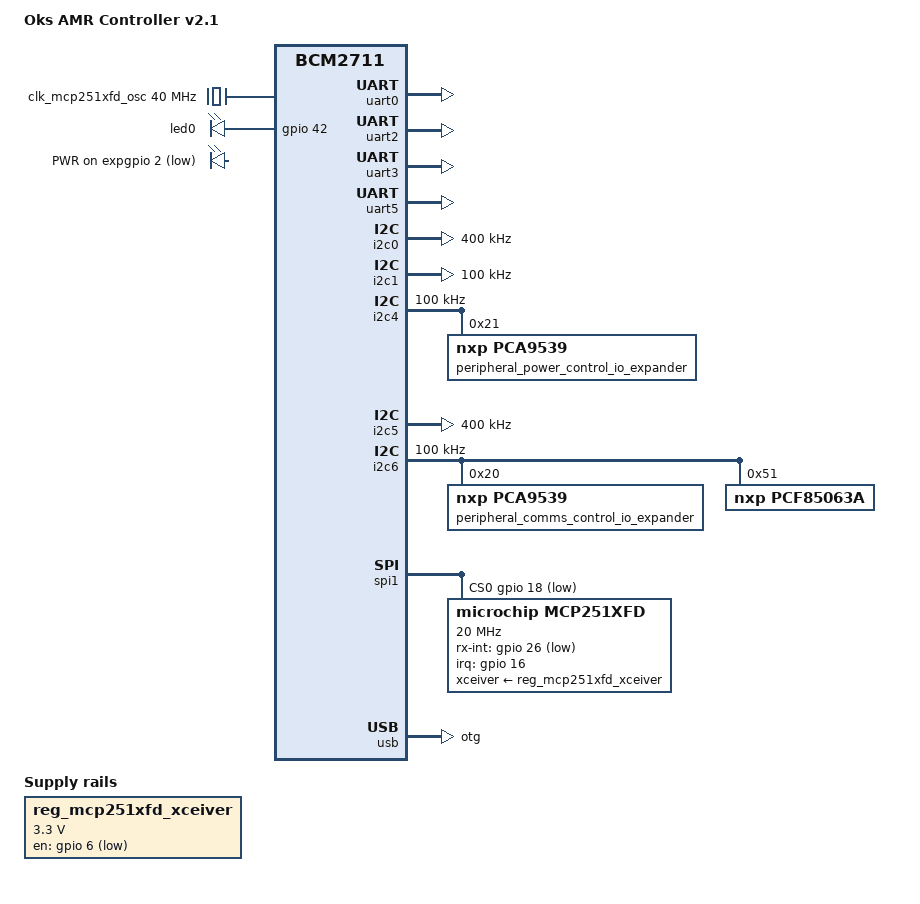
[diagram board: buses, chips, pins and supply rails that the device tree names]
// SPDX-License-Identifier: GPL-2.0
/dts-v1/;
#include "bcm2711-rpi-cm4.dtsi"
#include "bcm283x-rpi-usb-otg.dtsi"

/ {
    model = "Oks AMR Controller v2.1";
    compatible = "raspberrypi,4-compute-module", "oks,amr-controller-v2.1", "brcm,bcm2711";

    chosen {
        bootargs = "console=tty1 coherent_pool=1M 8250.nr_uarts=1 snd_bcm2835.enable_headphones=0";
    };

    oks_board_version {
        compatible = "oks,board-version";
        version = "2.1";
    };

   clocks {
   	clk_mcp251xfd_osc: mcp251xfd-osc {
            #clock-cells = <0>;
	    compatible = "fixed-clock";
	    clock-frequency = <40000000>;
	};
   };

    reg_mcp251xfd_xceiver: reg_mcp251xfd_xceiver {
        compatible = "regulator-fixed";
        regulator-name = "mcp251xfd_xceiver";
        regulator-min-microvolt = <3300000>;
        regulator-max-microvolt = <3300000>;
        gpio = <&gpio 6 GPIO_ACTIVE_HIGH>;
        pinctrl-names = "default";
        pinctrl-0 = <&mcp251xfd_xceiver_pins>;
    };

    leds {
        led-act {
            label = "led0";
            linux,default-trigger = "heartbeat";
            gpios = <&gpio 42 GPIO_ACTIVE_HIGH>;
            delay-on-us = <500000>;  /* 500ms on */
            delay-off-us = <1000000>; /* 1s off */
            status = "okay";
        };

        led-pwr {
            label = "PWR";
            gpios = <&expgpio 2 GPIO_ACTIVE_LOW>;
            default-state = "keep";
            linux,default-trigger = "default-on";
        };
    };

    aliases {
        serial0 = &uart0;
        serial1 = &uart1;
        serial2 = &uart2;
        serial3 = &uart3;
        i2c0 = &i2c0;
        i2c1 = &i2c1;
        i2c4 = &i2c4;
        i2c5 = &i2c5;
        i2c6 = &i2c6;
        spi1 = &spi1;
        spi2 = &spi2;
	spi3 = &spi3;
	spi4 = &spi4;
	spi5 = &spi5;
	spi6 = &spi6;
    };
};

&gpio {
    gpio-line-names = "UART2_TXD",
                  "UART2_RXD",
                  "I2C1_SDA",
                  "I2C1_SCL",
                  "UART3_TXD",
                  "UART3_RXD",
                  "MCP251xFD_INT0",
                  "CN2_6_DO",
                  "I2C4_SCL",
                  "I2C4_SDA",
                  "I2C5_SDA",
                  "I2C5_SCL",
                  "UART5_TXD",
                  "UART5_RXD",
                  "UART0_TXD",
                  "UART0_RXD",
                  "MCP251xFD_INT",
                  "CN2_5_DI",
                  "SPI1_CS0",
                  "SPI1_MISO",
                  "SPI1_MOSI",
                  "SPI1_SCLK",
                  "I2C6_SCL",
                  "I2C6_SDA",
                  "TP39",
                  "TP38",
                  "MCP251xFD_INT1",
                  "CN2_3_DI";

    spi1_pins: spi1_pins {
        brcm,pins = <19 20 21>;
        brcm,function = <3>; /* alt4 */
    };

    spi1_cs_pins: spi1_cs_pins {
        brcm,pins = <18>;
        brcm,function = <3>; /* alt4 */
    };

    i2c0_pins_44_45: i2c0 {
        brcm,pins = <44 45>;
        brcm,function = <BCM2835_FSEL_ALT1>;
        brcm,pull = <BCM2835_PUD_UP>;
    };

    i2c1_pins: i2c1 {
        brcm,pins = <2 3>;
        brcm,function = <BCM2835_FSEL_ALT0>;
        brcm,pull = <BCM2835_PUD_UP>;
    };

    i2c4_pins: i2c4 {
        brcm,pins = <8 9>;
        brcm,function = <BCM2835_FSEL_ALT5>;
        brcm,pull = <BCM2835_PUD_UP>;
    };

    i2c5_pins: i2c5 {
        brcm,pins = <10 11>;
        brcm,function = <BCM2835_FSEL_ALT5>;
        brcm,pull = <BCM2835_PUD_UP>;
    };

    i2c6_pins: i2c6 {
        brcm,pins = <22 23>;
        brcm,function = <BCM2835_FSEL_ALT5>;
        brcm,pull = <BCM2835_PUD_UP>;
    };

    uart0_pins: uart0_pins {
        brcm,pins = <14 15>;
        brcm,function = <BCM2835_FSEL_ALT0>;
        brcm,pull = <0 2>;
    };

    uart1_pins: uart1_pins {
        brcm,pins;
        brcm,function;
        brcm,pull;
    };

    uart2_pins: uart2_pins {
        brcm,pins = <0 1>;
        brcm,function = <BCM2835_FSEL_ALT4>;
        brcm,pull = <0 2>;
    };

    uart3_pins: uart3_pins {
        brcm,pins = <4 5>;
        brcm,function = <BCM2835_FSEL_ALT4>;
        brcm,pull = <0 2>;
    };

    uart4_pins: uart4_pins {
        brcm,pins = <8 9>;
        brcm,function = <BCM2835_FSEL_ALT4>;
        brcm,pull = <0 2>;
    };

    uart5_pins: uart5_pins {
        brcm,pins = <12 13>;
        brcm,function = <BCM2835_FSEL_ALT4>;
        brcm,pull = <0 2>;
    };

    mcp251xfd0_pins: mcp251xfd0_pins {
        brcm,pins = <26>;
        brcm,function = <BCM2835_FSEL_GPIO_IN>;
    };

    mcp251xfd_xceiver_pins: mcp251xfd_xceiver_pins {
        brcm,pins = <6>;
        brcm,function = <BCM2835_FSEL_GPIO_OUT>;
    };
};

&uart0 {
    label = "CN1_ROBOT_CONN_RES";
    pinctrl-names = "default";
    pinctrl-0 = <&uart0_pins>;
    linux,alias = "serial0";
    status = "okay";
};

&uart2 {
    label = "CN8_RFID";
    pinctrl-names = "default";
    pinctrl-0 = <&uart2_pins>;
    linux,alias = "serial2";
    status = "okay";
};

&uart3 {
    label = "CN2_RES";
    pinctrl-names = "default";
    pinctrl-0 = <&uart3_pins>;
    linux,alias = "serial3";
    status = "okay";
};

&uart5 {
    label = "bus_servo";
    status = "okay";
    pinctrl-names = "default";
    pinctrl-0 = <&uart5_pins>;
    linux,alias = "serial5";
    status = "okay";
};

&i2c0 {
    pinctrl-names = "default";
    pinctrl-0 = <&i2c0_pins_44_45>;
    clock-frequency = <400000>;
    status = "okay";
};

&i2c1 {
    pinctrl-names = "default";
    pinctrl-0 = <&i2c1_pins>;
    clock-frequency = <100000>;
    status = "okay";
};

&i2c4 {
    pinctrl-names = "default";
    pinctrl-0 = <&i2c4_pins>;
    clock-frequency = <100000>;
    status = "okay";
};

&i2c5 {
    pinctrl-names = "default";
    pinctrl-0 = <&i2c5_pins>;
    clock-frequency = <400000>;
    status = "okay";
};

&i2c6 {
    pinctrl-names = "default";
    pinctrl-0 = <&i2c6_pins>;
    clock-frequency = <100000>;
    status = "okay";
};

&spi1 {
    /* needed to avoid dtc warning */
    #address-cells = <1>;
    #size-cells = <0>;
    pinctrl-names = "default";
    pinctrl-0 = <&spi1_pins &spi1_cs_pins>;
    cs-gpios = <&gpio 18 1>;
    status = "okay";
};

&spi1 {
    mcp251xfd: mcp251xfd@0 {
        compatible = "microchip,mcp251xfd";
        reg = <0>;
        pinctrl-names = "default";
        pinctrl-0 = <&mcp251xfd0_pins>;
        spi-max-frequency = <20000000>;
        interrupt-parent = <&gpio>;
        interrupts = <16 IRQ_TYPE_LEVEL_LOW>;
        microchip,rx-int-gpios = <&gpio 26 GPIO_ACTIVE_LOW>;
        clocks = <&clk_mcp251xfd_osc>;
        xceiver-supply = <&reg_mcp251xfd_xceiver>;
        //vdd-supply = <&reg5v0>;
    };
};


&usb {
    compatible = "brcm,bcm2835-usb";
    dr_mode = "otg";
    status = "okay";
};

&bt {
    status = "disabled";
};

&hdmi0 {
    status = "disabled";
};

&hdmi1 {
    status = "disabled";
};

&genet {
    status = "disabled";
};

&pixelvalve0 {
    status = "disabled";
};

&pixelvalve1 {
    status = "disabled";
};

&pixelvalve2 {
    status = "disabled";
};

&pixelvalve4 {
    status = "disabled";
};

&vc4 {
    status = "disabled";
};

&vec {
    status = "disabled";
};

&pcie0 {
    status = "disabled";
};

&i2c4 {
    pca953x_2: pca953x@21 {
        compatible = "nxp,pca9539";
        reg = <0x21>;
        gpio-controller;
        #gpio-cells = <2>;
        label = "peripheral_power_control_io_expander";
        gpio-line-names = "PWR_WHEEL_EN_FR", "PWR_WHEEL_EN_FL", "PWR_WHEEL_EN_RR", "PWR_WHEEL_EN_RL", "RES1", "RES2", "RES3", "RES4", "LIFTER_SIG_EN_FR", "LIFTER_SIG_EN_FL", "LIFTER_SIG_EN_RR", "LIFTER_SIG_EN_RL", "RES5", "RES6", "RES7", "RES8";
        gpio-default-states = <0 0 0 0 0 0 0 0  0 0 0 0 0 0 0 0>;
    };
};

&i2c5 {
    icm20948: icm20948@68 {
        status = "disabled";
        compatible = "invensense,icm20948";
        reg = <0x68>;
    };
};

&i2c6 {
    status = "okay";
    pinctrl-names = "default";
    pinctrl-0 = <&i2c6_pins>;
    clock-frequency = <100000>;

    pca953x_1: pca953x@20 {
        compatible = "nxp,pca9539";
        reg = <0x20>;
        gpio-controller;
        #gpio-cells = <2>;
        label = "peripheral_comms_control_io_expander";
        gpio-line-names = "LINE_FOLLOWER_FRONT_EN", "LINE_FOLLOWER_REAR_EN", "LINE_FOLLOWER_LEFT_EN", "LINE_FOLLOWER_RIGHT_EN", "COLLISION_SENSOR_FRONT_EN", "COLLISION_SENSOR_REAR_EN", "COLLISION_SENSOR_LEFT_EN", "COLLISION_SENSOR_RIGHT_EN", "WEIGHT_SENSOR_FR_EN", "WEIGHT_SENSOR_FL_EN", "WEIGHT_SENSOR_RR_EN", "WEIGHT_SENSOR_RL_EN", "LINE_FOLLOWER_PWR_EN", "COLLISION_SENSOR_PWR_EN", "WEIGHT_SENSOR_PWR_EN", "RES_TP10";
        gpio-default-states = <0 0 0 0 0 0 0 0  0 0 0 0 0 0 0 0>;
    };

    pcf85063a: rtc@51 {
        compatible = "nxp,pcf85063a";
        reg = <0x51>;
    };
};

